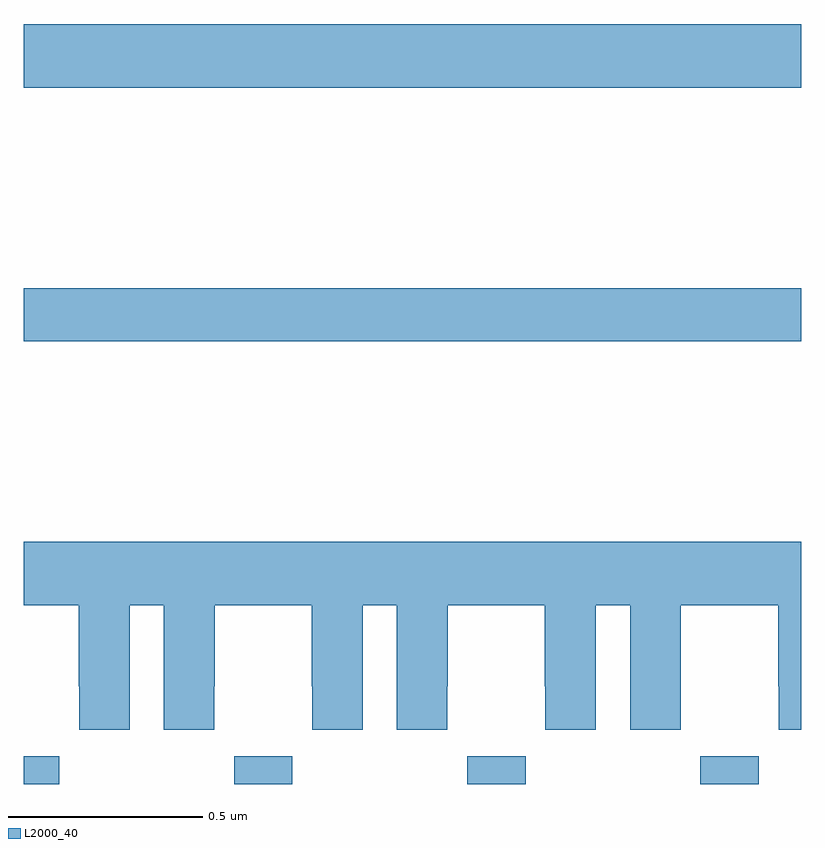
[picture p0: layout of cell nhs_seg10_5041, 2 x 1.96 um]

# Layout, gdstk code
import gdstk
lib = gdstk.Library(unit=1e-6, precision=1e-09)
def R(c, l, rs):  # rectangles x0, y0, x1, y1
    for r in rs: c.add(gdstk.rectangle(r[:2], r[2:], *l))
def A(c, l, x, y, w, h, nx, ny, dx, dy):  # array of equal rectangles
    R(c, l, [(x+i*dx, y+j*dy, x+i*dx+w, y+j*dy+h) for i in range(nx) for j in range(ny)])
def P(c, l, *ps):  # polygons
    for p in ps: c.add(gdstk.Polygon(p, *l))
L2000_40 = (2000, 40)

nhs_seg10_5041 = lib.new_cell('nhs_seg10_5041')
A(nhs_seg10_5041, L2000_40, 173.541, 1322.5, 0.15, 0.072, 3, 1, 0.6, 0)
R(nhs_seg10_5041, L2000_40, [(173,1322.5,173.091,1322.572), (173,1323.64,175,1323.776), (173,1324.292,175,1324.456)])
P(nhs_seg10_5041, L2000_40, [(173.272,1322.96),(173.36,1322.96),(173.36,1322.64),(173.49,1322.64),(173.49,1322.752),(173.491,1322.752),(173.491,1322.96),(173.741,1322.96),(173.741,1322.752),(173.742,1322.752),(173.742,1322.64),(173.872,1322.64),(173.872,1322.96),(173.96,1322.96),(173.96,1322.64),(174.09,1322.64),(174.09,1322.752),(174.091,1322.752),(174.091,1322.96),(174.341,1322.96),(174.341,1322.752),(174.342,1322.752),(174.342,1322.64),(174.472,1322.64),(174.472,1322.96),(174.56,1322.96),(174.56,1322.64),(174.69,1322.64),(174.69,1322.752),(174.691,1322.752),(174.691,1322.96),(174.941,1322.96),(174.941,1322.752),(174.942,1322.752),(174.942,1322.64),(175,1322.64),(175,1323.124),(173,1323.124),(173,1322.96),(173.141,1322.96),(173.141,1322.752),(173.142,1322.752),(173.142,1322.64),(173.272,1322.64)])

lib.write_gds('nhs_seg10_5041.gds')
